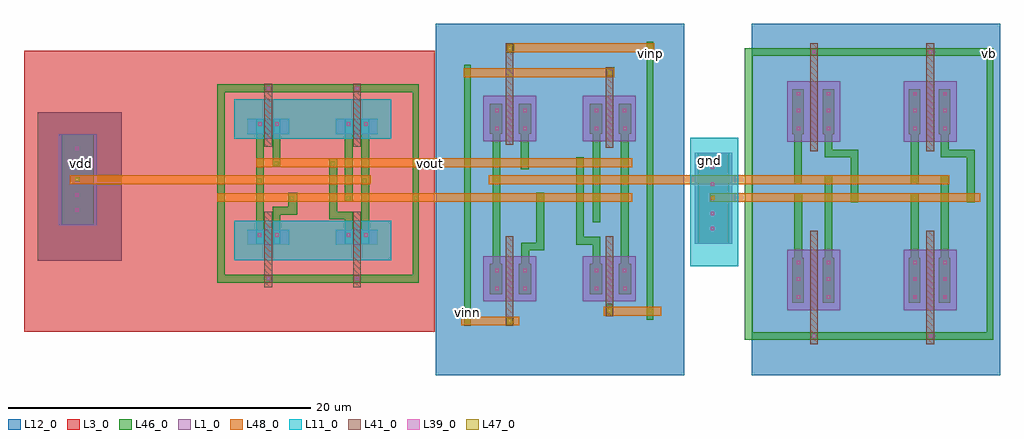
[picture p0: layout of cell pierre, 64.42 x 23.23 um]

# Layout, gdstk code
import gdstk
lib = gdstk.Library(unit=1e-6, precision=1e-09)
def R(c, l, rs):  # rectangles x0, y0, x1, y1
    for r in rs: c.add(gdstk.rectangle(r[:2], r[2:], *l))
def P(c, l, *ps):  # polygons
    for p in ps: c.add(gdstk.Polygon(p, *l))
L1_0 = (1, 0)
L3_0 = (3, 0)
L11_0 = (11, 0)
L12_0 = (12, 0)
L39_0 = (39, 0)
L41_0 = (41, 0)
L46_0 = (46, 0)
L47_0 = (47, 0)
L48_0 = (48, 0)

pierre = lib.new_cell('pierre')
R(pierre, L1_0, [(35.635,-2.545,39.135,1.455), (43.32,-2.545,46.82,1.455), (15.55,-1.955,19.05,1.045), (22.145,-1.955,25.645,1.045), (-0.02,1.775,2.76,2.775), (5.835,1.775,8.615,2.775), (29.51,1.855,32.01,7.855), (-12.45,3.07,-9.95,9.07), (35.635,8.585,39.135,12.585), (43.32,8.585,46.82,12.585), (15.55,8.615,19.05,11.615), (22.145,8.615,25.645,11.615), (-0.02,9.09,2.76,10.09), (5.835,9.09,8.615,10.09)])
R(pierre, L3_0, [(-14.75,-3.95,12.35,14.6)])
R(pierre, L11_0, [(29.24,0.375,32.41,8.865), (-0.875,0.76,9.48,3.36), (-0.875,8.79,9.48,11.39)])
R(pierre, L12_0, [(12.43,-6.84,28.82,16.39), (33.285,-6.84,49.675,16.39), (-13.83,0.745,-8.305,10.52)])
R(pierre, L39_0, [(37.27,-4.34,37.5,-4.11), (44.96,-4.34,45.19,-4.11), (17.2,-3.35,17.43,-3.12), (23.785,-2.67,24.015,-2.44), (36.26,-1.775,36.49,-1.545), (38.24,-1.775,38.47,-1.545), (43.945,-1.775,44.175,-1.545), (45.925,-1.775,46.155,-1.545), (16.345,-1.215,16.575,-0.985), (18.22,-1.215,18.45,-0.985), (22.94,-1.215,23.17,-0.985), (24.815,-1.215,25.045,-0.985), (36.26,-0.6,36.49,-0.37), (38.24,-0.6,38.47,-0.37), (43.945,-0.6,44.175,-0.37), (45.925,-0.6,46.155,-0.37), (1.275,-0.565,1.505,-0.335), (7.11,-0.565,7.34,-0.335), (16.345,-0.04,16.575,0.19), (18.19,-0.04,18.42,0.19), (22.94,-0.04,23.17,0.19), (24.785,-0.04,25.015,0.19), (36.26,0.51,36.49,0.74), (38.24,0.51,38.47,0.74), (43.945,0.51,44.175,0.74), (45.925,0.51,46.155,0.74), (0.695,2.315,0.925,2.545), (1.84,2.315,2.07,2.545), (6.55,2.315,6.78,2.545), (7.695,2.315,7.925,2.545), (30.595,2.76,30.825,2.99), (30.595,3.74,30.825,3.97), (-11.365,3.975,-11.135,4.205), (30.595,4.74,30.825,4.97), (-11.365,4.955,-11.135,5.185), (30.595,5.69,30.825,5.92), (-11.365,5.955,-11.135,6.185), (30.595,6.81,30.825,7.04), (-11.365,6.905,-11.135,7.135), (-11.365,8.025,-11.135,8.255), (16.345,9.355,16.575,9.585), (18.22,9.355,18.45,9.585), (22.94,9.355,23.17,9.585), (24.815,9.355,25.045,9.585), (36.26,9.355,36.49,9.585), (38.24,9.355,38.47,9.585), (43.945,9.355,44.175,9.585), (45.925,9.355,46.155,9.585), (0.705,9.655,0.935,9.885), (1.845,9.655,2.075,9.885), (6.56,9.655,6.79,9.885), (7.7,9.655,7.93,9.885), (16.345,10.53,16.575,10.76), (18.19,10.53,18.42,10.76), (22.94,10.53,23.17,10.76), (24.785,10.53,25.015,10.76), (36.26,10.53,36.49,10.76), (38.24,10.53,38.47,10.76), (43.945,10.53,44.175,10.76), (45.925,10.53,46.155,10.76), (36.26,11.64,36.49,11.87), (38.24,11.64,38.47,11.87), (43.945,11.64,44.175,11.87), (45.925,11.64,46.155,11.87), (1.275,12,1.505,12.23), (7.125,12,7.355,12.23), (23.785,13.01,24.015,13.24), (37.27,14.4,37.5,14.63), (44.96,14.4,45.19,14.63), (17.2,14.63,17.43,14.86)])
R(pierre, L41_0, [(37.135,-4.765,37.635,2.7), (44.82,-4.765,45.32,2.7), (17.05,-3.575,17.55,2.34), (23.645,-2.93,24.145,2.34), (1.125,-1.025,1.625,3.98), (6.98,-1.025,7.48,3.98), (37.135,7.95,37.635,15.1), (44.82,7.95,45.32,15.1), (23.645,8.2,24.145,13.325), (1.125,8.255,1.625,12.43), (6.98,8.255,7.48,12.43), (17.05,8.375,17.55,15.105), (23.645,8.375,24.145,13.5)])
R(pierre, L46_0, [(32.83,-4.495,33.345,14.765), (32.83,-4.49,49.24,-3.975), (48.815,-4.49,49.24,14.765), (14.315,-3.575,14.74,13.655), (17.08,-3.52,17.58,-3.02), (26.355,-3.155,26.78,15.175), (23.695,-2.88,24.105,-2.11), (35.975,-2.035,36.735,0.925), (36.095,-2.035,36.61,5.2), (37.96,-2.035,38.72,0.925), (43.66,-2.035,44.42,0.925), (43.785,-2.035,44.3,5.2), (45.645,-2.035,46.405,0.925), (15.99,-1.465,16.825,0.525), (17.905,-1.465,18.74,0.525), (22.585,-1.465,23.42,0.525), (24.5,-1.465,25.335,0.525), (16.185,-1.41,16.7,10.965), (38.095,-1.41,38.61,6.36), (45.78,-1.41,46.295,6.36), (24.645,-1.385,25.16,10.965), (-2.005,-0.71,11.32,-0.195), (-2.005,-0.71,-1.49,12.36), (10.895,-0.71,11.32,12.38), (0.57,1.775,1.085,3.06), (0.57,1.775,1.085,10.09), (1.665,1.775,2.18,4.29), (6.425,1.775,6.94,3.98), (7.52,1.775,8.035,3.06), (21.695,1.8,22.21,7.58), (29.71,1.855,31.81,7.855), (7.52,2.385,8.035,10.09), (-12.25,3.07,-10.15,9.07), (22.78,3.26,23.295,10.965), (5.41,3.465,6.94,3.98), (5.405,3.475,5.92,7.505), (1.665,3.775,3.195,4.29), (2.685,3.775,3.295,5.225), (39.81,4.605,40.32,8.075), (47.49,4.605,48,8.075), (6.425,4.61,6.94,10.09), (36.085,5.775,36.6,10.965), (43.8,5.775,44.315,10.965), (18.05,6.775,18.565,10.965), (1.665,6.925,2.18,10.09), (38.105,7.555,40.33,8.065), (45.785,7.555,48.01,8.065), (38.095,7.57,38.61,11.99), (45.775,7.57,46.29,11.99), (35.975,9.095,36.735,12.055), (37.96,9.095,38.72,12.055), (43.66,9.095,44.42,12.055), (45.645,9.095,46.405,12.055), (15.99,9.105,16.825,11.095), (17.905,9.105,18.74,11.095), (22.585,9.105,23.42,11.095), (24.5,9.105,25.335,11.095), (-2.005,11.865,11.32,12.38), (23.675,12.915,24.2,13.49), (32.83,14.25,49.24,14.765), (17.115,14.465,17.595,15.02)])
P(pierre, L46_0, [(22.78,-1.465),(22.78,1.8),(21.71,1.8),(21.71,2.315),(23.295,2.315),(23.295,-1.465)],
  [(18.075,-1.41),(18.075,1.93),(19.05,1.93),(19.05,5.215),(19.58,5.215),(19.58,1.415),(18.59,1.415),(18.59,-1.41)])
R(pierre, L47_0, [(14.41,-3.395,14.66,-3.145), (17.195,-3.38,17.445,-3.13), (23.785,-2.685,24.035,-2.435), (26.475,-2.67,26.725,-2.42), (6.525,4.725,6.775,4.975), (19.2,4.725,19.45,4.975), (22.92,4.725,23.17,4.975), (2.79,4.73,3.04,4.98), (10.99,4.73,11.24,4.98), (30.6,4.76,30.85,5.01), (36.22,4.765,36.47,5.015), (39.935,4.765,40.185,5.015), (47.605,4.765,47.855,5.015), (43.905,4.775,44.155,5.025), (0.655,5.88,0.905,6.13), (7.605,5.88,7.855,6.13), (24.795,5.92,25.045,6.17), (36.22,5.92,36.47,6.17), (43.905,5.92,44.155,6.17), (38.205,5.925,38.455,6.175), (45.905,5.935,46.155,6.185), (16.33,5.965,16.58,6.215), (-11.36,5.975,-11.11,6.225), (5.505,7.005,5.755,7.255), (1.77,7.025,2.02,7.275), (18.2,7.06,18.45,7.31), (21.84,7.06,22.09,7.31), (14.41,13.005,14.66,13.255), (23.805,13.005,24.055,13.255), (26.475,14.63,26.725,14.88), (17.22,14.64,17.47,14.89)])
R(pierre, L48_0, [(14.11,-3.535,17.935,-2.95), (23.505,-2.9,27.33,-2.315), (-1.995,4.61,25.395,5.195), (30.505,4.61,48.355,5.195), (-11.72,5.775,8.15,6.36), (15.94,5.775,46.34,6.36), (0.57,6.92,25.395,7.505), (14.27,12.86,24.205,13.445), (17.04,14.495,26.85,15.08)])
pierre.add(gdstk.Label('vb', (48.985,14.395), layer=101, texttype=0))
pierre.add(gdstk.Label('vinp', (26.615,14.395), layer=101, texttype=0))
pierre.add(gdstk.Label('vinn', (14.525,-2.685), layer=101, texttype=0))
pierre.add(gdstk.Label('vout', (12.1,7.18), layer=102, texttype=0))
pierre.add(gdstk.Label('vdd', (-10.975,7.18), layer=101, texttype=0))
pierre.add(gdstk.Label('gnd', (30.51,7.36), layer=101, texttype=0))

lib.write_gds('pierre.gds')
